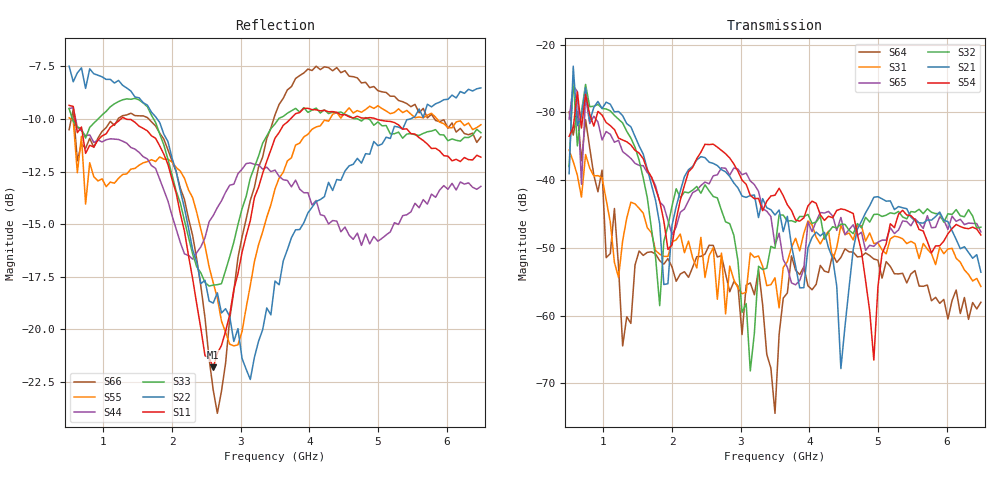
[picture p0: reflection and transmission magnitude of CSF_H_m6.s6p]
!Keysight Technologies,M9804A,MY58100912,A.14.10.03
!Date: Thursday, April 27, 2023 10:28:33
!Correction: S11(C  6-Port  )
!S12(C  6-Port  )
!S13(C  6-Port  )
!S14(C  6-Port  )
!S15(C  6-Port  )
!S16(C  6-Port  )
!S21(C  6-Port  )
!S22(C  6-Port  )
!S23(C  6-Port  )
!S24(C  6-Port  )
!S25(C  6-Port  )
!S26(C  6-Port  )
!S31(C  6-Port  )
!S32(C  6-Port  )
!S33(C  6-Port  )
!S34(C  6-Port  )
!S35(C  6-Port  )
!S36(C  6-Port  )
!S41(C  6-Port  )
!S42(C  6-Port  )
!S43(C  6-Port  )
!S44(C  6-Port  )
!S45(C  6-Port  )
!S46(C  6-Port  )
!S51(C  6-Port  )
!S52(C  6-Port  )
!S53(C  6-Port  )
!S54(C  6-Port  )
!S55(C  6-Port  )
!S56(C  6-Port  )
!S61(C  6-Port  )
!S62(C  6-Port  )
!S63(C  6-Port  )
!S64(C  6-Port  )
!S65(C  6-Port  )
!S66(C  6-Port  )
!S6P File: Measurement: :
# Hz S  RI  R 50
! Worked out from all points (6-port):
!   101 points, 500 MHz to 6.5 GHz, reference 50 ohm
!   strongest paths, dB at 500 MHz, 2 GHz, 3.5 GHz, 5 GHz, 6.5 GHz:
!     S54: -33.5, -49.5, -42.2, -55.7, -48.1
!     S21: -39.0, -46.6, -45.1, -42.4, -53.6
!     S32: -38.0, -43.8, -50.0, -45.0, -46.9
!     S65: -31.0, -48.1, -49.6, -49.2, -47.6
!     S31: -35.5, -49.1, -54.4, -49.3, -55.7
!     S64: -29.9, -52.8, -74.4, -51.8, -58.0
!   lowest |S11| = -21.8 dB at 2.6 GHz (marker M1), VSWR 1.18, Z = 42.7 + j2.01 ohm
!   |S11| at or under -10 dB: 588.6 MHz to 1.254 GHz (665.4 MHz wide, 72.2 % of centre); 1.329 GHz to 3.725 GHz (2.395 GHz wide, 94.8 % of centre); 4.973 GHz to end of sweep
